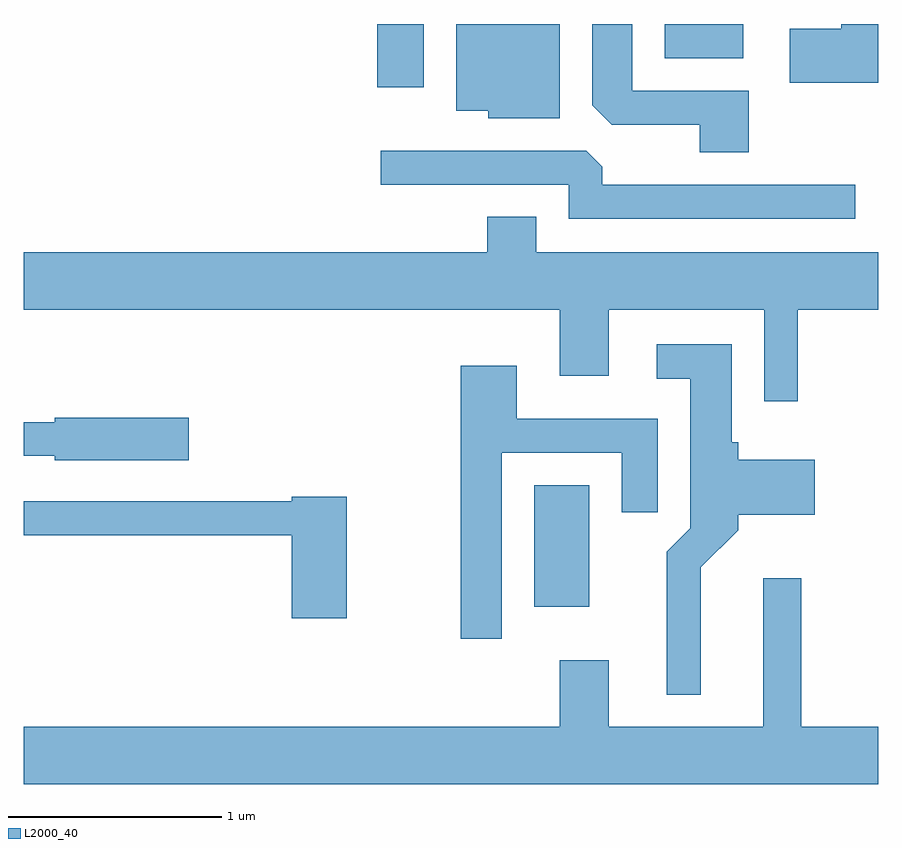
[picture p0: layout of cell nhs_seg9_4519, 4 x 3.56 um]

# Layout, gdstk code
import gdstk
lib = gdstk.Library(unit=1e-6, precision=1e-09)
def R(c, l, rs):  # rectangles x0, y0, x1, y1
    for r in rs: c.add(gdstk.rectangle(r[:2], r[2:], *l))
def P(c, l, *ps):  # polygons
    for p in ps: c.add(gdstk.Polygon(p, *l))
L2000_40 = (2000, 40)

nhs_seg9_4519 = lib.new_cell('nhs_seg9_4519')
R(nhs_seg9_4519, L2000_40, [(320.001,2043.706,320.259,2044.274), (319.266,2046.136,319.484,2046.432), (320.611,2046.271,320.979,2046.432)])
P(nhs_seg9_4519, L2000_40, [(321.004,2046.119),(320.459,2046.119),(320.459,2046.432),(320.271,2046.432),(320.271,2046.052),(320.362,2045.961),(320.776,2045.961),(320.776,2045.831),(321.004,2045.831)],
  [(321.611,2046.432),(321.436,2046.432),(321.436,2046.409),(321.196,2046.409),(321.196,2046.156),(321.611,2046.156)],
  [(320.119,2046.432),(319.636,2046.432),(319.636,2046.026),(319.786,2046.026),(319.786,2045.991),(320.119,2045.991)],
  [(321.503,2045.679),(320.319,2045.679),(320.319,2045.764),(320.244,2045.839),(319.283,2045.839),(319.283,2045.681),(320.161,2045.681),(320.161,2045.521),(321.503,2045.521)],
  [(321.234,2045.096),(321.611,2045.096),(321.611,2045.364),(320.009,2045.364),(320.009,2045.529),(319.781,2045.529),(319.781,2045.364),(317.611,2045.364),(317.611,2045.096),(320.121,2045.096),(320.121,2044.786),(320.349,2044.786),(320.349,2045.096),(321.076,2045.096),(321.076,2044.668),(321.234,2044.668)],
  [(320.779,2043.889),(320.954,2044.064),(320.954,2044.136),(321.314,2044.136),(321.314,2044.394),(320.954,2044.394),(320.954,2044.474),(320.924,2044.474),(320.924,2044.934),(320.573,2044.934),(320.573,2044.771),(320.731,2044.771),(320.731,2044.072),(320.621,2043.962),(320.621,2043.293),(320.779,2043.293)],
  [(319.849,2044.426),(320.411,2044.426),(320.411,2044.148),(320.579,2044.148),(320.579,2044.584),(319.919,2044.584),(319.919,2044.834),(319.656,2044.834),(319.656,2043.556),(319.849,2043.556)],
  [(318.384,2044.589),(317.756,2044.589),(317.756,2044.569),(317.611,2044.569),(317.611,2044.411),(317.756,2044.411),(317.756,2044.391),(318.384,2044.391)],
  [(319.124,2044.219),(318.866,2044.219),(318.866,2044.199),(317.611,2044.199),(317.611,2044.041),(318.866,2044.041),(318.866,2043.651),(319.124,2043.651)],
  [(321.611,2043.144),(321.249,2043.144),(321.249,2043.839),(321.071,2043.839),(321.071,2043.144),(320.349,2043.144),(320.349,2043.454),(320.121,2043.454),(320.121,2043.144),(317.611,2043.144),(317.611,2042.876),(321.611,2042.876)])

lib.write_gds('nhs_seg9_4519.gds')
